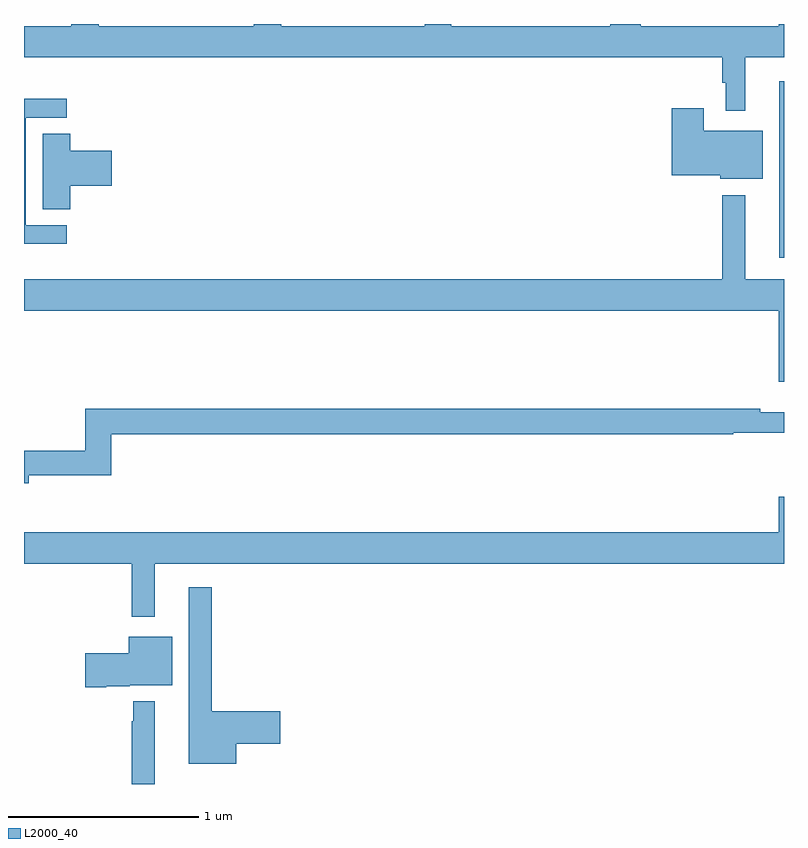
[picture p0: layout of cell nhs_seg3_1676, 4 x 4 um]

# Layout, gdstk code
import gdstk
lib = gdstk.Library(unit=1e-6, precision=1e-09)
def R(c, l, rs):  # rectangles x0, y0, x1, y1
    for r in rs: c.add(gdstk.rectangle(r[:2], r[2:], *l))
def P(c, l, *ps):  # polygons
    for p in ps: c.add(gdstk.Polygon(p, *l))
L2000_40 = (2000, 40)

nhs_seg3_1676 = lib.new_cell('nhs_seg3_1676')
R(nhs_seg3_1676, L2000_40, [(200.975,725.171,201,726.1)])
P(nhs_seg3_1676, L2000_40, [(200.797,726.224),(201,726.224),(201,726.4),(200.972,726.4),(200.972,726.388),(200.246,726.388),(200.246,726.4),(200.086,726.4),(200.086,726.388),(199.249,726.388),(199.249,726.4),(199.109,726.4),(199.109,726.388),(198.355,726.388),(198.355,726.4),(198.208,726.4),(198.208,726.388),(197.394,726.388),(197.394,726.4),(197.248,726.4),(197.248,726.388),(197,726.388),(197,726.224),(200.676,726.224),(200.676,726.092),(200.693,726.092),(200.693,725.943),(200.797,725.943)],
  [(197.224,725.34),(197.01,725.34),(197.01,725.907),(197.224,725.907),(197.224,726.006),(197,726.006),(197,725.244),(197.224,725.244)],
  [(200.887,725.839),(200.578,725.839),(200.578,725.956),(200.408,725.956),(200.408,725.603),(200.664,725.603),(200.664,725.585),(200.887,725.585)],
  [(197.243,725.549),(197.461,725.549),(197.461,725.732),(197.243,725.732),(197.243,725.822),(197.099,725.822),(197.099,725.425),(197.243,725.425)],
  [(200.676,725.5),(200.676,725.056),(197,725.056),(197,724.892),(200.972,724.892),(200.972,724.518),(201,724.518),(201,725.056),(200.797,725.056),(200.797,725.5)],
  [(197.026,724.026),(197.459,724.026),(197.459,724.24),(200.734,724.24),(200.734,724.248),(201,724.248),(201,724.357),(200.876,724.357),(200.876,724.376),(197.323,724.376),(197.323,724.154),(197,724.154),(197,723.983),(197.026,723.983)],
  [(197.689,723.56),(201,723.56),(201,723.913),(200.972,723.913),(200.972,723.724),(197,723.724),(197,723.56),(197.568,723.56),(197.568,723.279),(197.689,723.279)],
  [(198.118,722.612),(198.349,722.612),(198.349,722.783),(197.989,722.783),(197.989,723.436),(197.867,723.436),(197.867,722.507),(198.118,722.507)],
  [(197.434,722.915),(197.556,722.915),(197.556,722.921),(197.779,722.921),(197.779,723.175),(197.552,723.175),(197.552,723.087),(197.322,723.087),(197.322,722.909),(197.434,722.909)],
  [(197.689,722.836),(197.575,722.836),(197.575,722.729),(197.568,722.729),(197.568,722.4),(197.689,722.4)])

lib.write_gds('nhs_seg3_1676.gds')
